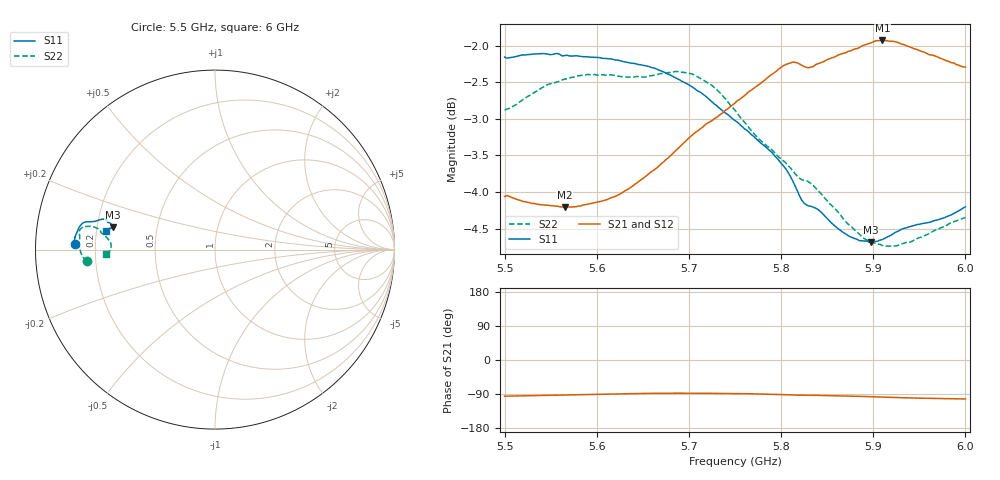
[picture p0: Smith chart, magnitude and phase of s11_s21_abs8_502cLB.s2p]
! MS46122B
! 1919307/90821646
! 7/29/2022 12:43:25 PM
! C:\USERS\PC_\DESKTOP\MEDICIONES\BANCHA ESTRECHA\55_6GHZ\S11_S21_ABS8_502CL.S2P
! CHANNEL.1
! TR.MEASUREMENT
! CORRECTED.DATA
# GHZ S RI R 50.0
! FREQ.GHZ  S11RE  S11IM  S21RE  S21IM  S12RE  S12IM  S22RE  S22IM
!; PortSelection: Port_12
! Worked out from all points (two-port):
!   201 points, 5.5 GHz to 6 GHz, reference 50 ohm
!   highest |S21| = -1.93 dB at 5.91 GHz (marker M1); lowest = -4.2 dB at 5.565 GHz (marker M2)
!   |S21| within 3 dB of the highest: start of sweep to end of sweep
!   lowest |S11| = -4.7 dB at 5.897 GHz (marker M3), VSWR 3.80, Z = 13.3 + j4.97 ohm
!   |S11| at or under -10 dB: nowhere
!   |S22| runs from -4.7 to -2.4 dB; largest |S21 - S12| = 0.014
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5.5  -0.7797 0.0302  -0.0589 -0.6238  -0.053 -0.6237  -0.7149 -0.0655
5.5225  -0.7817 0.0436  -0.0478 -0.6196  -0.0401 -0.6157  -0.7299 -0.05
5.565  -0.7788 0.0712  -0.0258 -0.6156  -0.0137 -0.6143  -0.7536 0.00251
5.585  -0.777 0.0767  -0.0162 -0.618  -0.00319 -0.6175  -0.7581 0.0225
5.62  -0.7715 0.0899  0.00458 -0.6266  0.0162 -0.6275  -0.7567 0.0439
5.6675  -0.7533 0.1298  0.0263 -0.6568  0.0368 -0.6579  -0.7552 0.0843
5.705  -0.7277 0.1524  0.0276 -0.6908  0.0368 -0.6934  -0.7502 0.1151
5.725  -0.7105 0.1547  0.0244 -0.7055  0.0322 -0.7097  -0.7357 0.1253
5.75  -0.6887 0.1557  0.0169 -0.7256  0.0221 -0.728  -0.7058 0.1302
5.7725  -0.6684 0.1574  0.00816 -0.7445  0.017 -0.7462  -0.6779 0.1267
5.805  -0.6324 0.1687  -0.0204 -0.7707  -0.0137 -0.7729  -0.6506 0.1151
5.8225  -0.6016 0.1614  -0.0397 -0.7692  -0.0357 -0.7708  -0.6356 0.0994
5.835  -0.5974 0.1507  -0.0424 -0.7676  -0.0372 -0.7689  -0.6309 0.091
5.865  -0.5767 0.1405  -0.0641 -0.7813  -0.0554 -0.7791  -0.6041 0.0687
5.8975  -0.5701 0.1233  -0.0946 -0.7923  -0.0877 -0.7897  -0.5823 0.0408
5.91  -0.5732 0.1195  -0.1103 -0.7933  -0.1053 -0.7894  -0.5792 0.0305
5.9175  -0.5768 0.1184  -0.1169 -0.7913  -0.1127 -0.7875  -0.5791 0.0219
5.9275  -0.5815 0.1187  -0.1253 -0.7882  -0.1269 -0.7812  -0.5802 0.0126
5.93  -0.583 0.1181  -0.1323 -0.7856  -0.1222 -0.7818  -0.5812 0.00836
5.9375  -0.5851 0.1182  -0.1379 -0.7817  -0.1342 -0.7747  -0.5833 0.00193
5.96  -0.59 0.1166  -0.1514 -0.7688  -0.1446 -0.7589  -0.5904 -0.0191
6  -0.6078 0.103  -0.1711 -0.7488  -0.1581 -0.745  -0.6058 -0.0246
